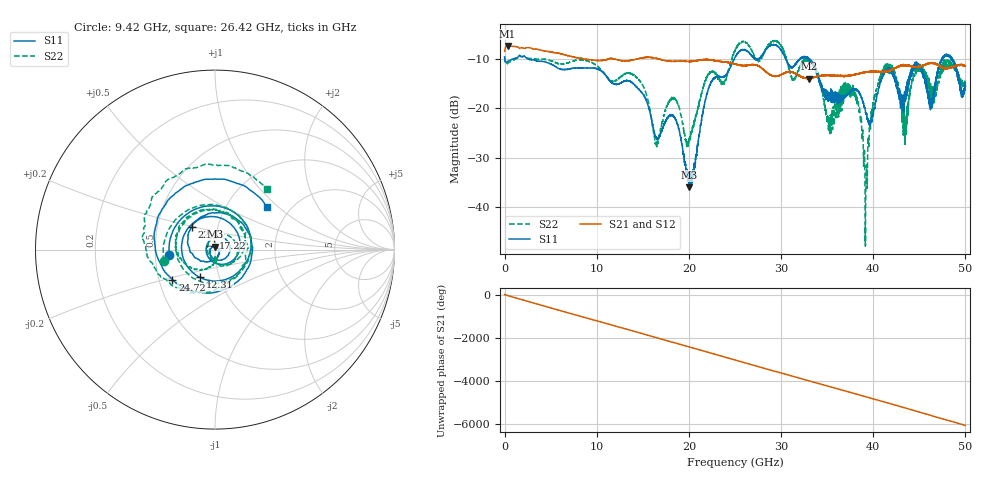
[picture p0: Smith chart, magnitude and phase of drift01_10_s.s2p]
!Created with skrf (http://scikit-rf.org).
# Hz S RI R 50.0
!freq ReS11 ImS11 ReS21 ImS21 ReS12 ImS12 ReS22 ImS22
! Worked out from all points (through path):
!   10001 points, 300 kHz to 50 GHz, reference 50 ohm
!   highest |S21| = -7.33 dB at 325.3 MHz (marker M1); lowest = -14.0 dB at 33.02 GHz (marker M2)
!   group delay of S21, straight-line fit = 335 ps
!   lowest |S11| = -36.0 dB at 20.01 GHz (marker M3), VSWR 1.03, Z = 49.8 + j1.57 ohm
!   |S11| at or under -10 dB: 2.557 GHz to 24.91 GHz (22.35 GHz wide, 163 % of centre); 30.5 GHz to 32.02 GHz (1.512 GHz wide, 4.84 % of centre); 33.07 GHz to 47.45 GHz (14.39 GHz wide, 35.7 % of centre) (the widest 3 of 19)
!   |S22| runs from -48.0 to -6.2 dB; largest |S21 - S12| = 0.008
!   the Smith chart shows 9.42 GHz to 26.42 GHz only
!   S11 on the Smith chart (normalised r, x): 9.42 GHz: 0.59, -0.04; 12.31 GHz: 0.81, -0.26; 17.22 GHz: 0.98, +0.13; 22.41 GHz: 0.75, +0.20; 24.72 GHz: 0.59, -0.21; 26.42 GHz: 1.54, +0.84
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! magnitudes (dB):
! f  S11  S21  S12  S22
! 300 kHz  -9.5  -8.4  -8.5  -9.5
! 325.3 MHz  -10.5  -7.3  -7.3  -10.9
! 8.335 GHz  -11.8  -9.9  -9.9  -10.2
! 9.42 GHz  -11.8  -10.2  -10.2  -10.7
! 12.31 GHz  -15.1  -10.2  -10.2  -14.1
! 16.67 GHz  -26.1  -10.0  -10.0  -27.0
! 17.22 GHz  -23.7  -10.2  -10.2  -21.8
! 20.01 GHz  -36.0  -10.5  -10.5  -26.6
! 22.41 GHz  -14.8  -10.2  -10.2  -12.4
! 24.72 GHz  -10.8  -10.9  -10.8  -9.6
! 25 GHz  -9.6  -11.0  -11.0  -8.3
! 26.42 GHz  -8.5  -11.3  -11.3  -7.1
! 33.02 GHz  -10.0  -14.0  -13.9  -10.1
! 33.34 GHz  -10.8  -13.8  -13.8  -10.6
! 35.23 GHz  -17.3  -13.3  -13.2  -22.8
! 37.97 GHz  -16.1  -13.2  -13.2  -17.6
! 39.17 GHz  -21.0  -12.7  -12.6  -43.0
! 40.16 GHz  -19.9  -12.5  -12.5  -17.6
! 41.67 GHz  -12.1  -12.4  -12.3  -11.4
! 43.39 GHz  -17.6  -11.2  -11.2  -22.1
! 44.87 GHz  -11.3  -11.6  -11.5  -11.5
! 50 GHz  -15.5  -11.4  -11.4  -15.0
